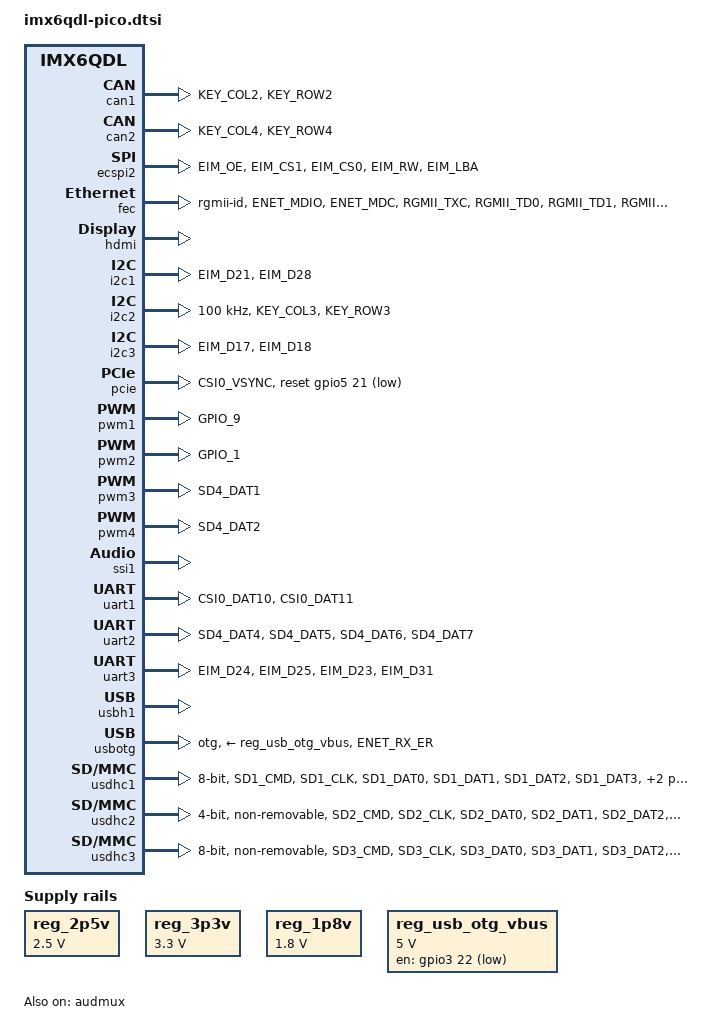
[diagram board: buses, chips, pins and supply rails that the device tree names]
// SPDX-License-Identifier: GPL-2.0
//
// Copyright 2018 Technexion Ltd.
//
// Author: Wig Cheng <wig.cheng@technexion.com>
//	   Richard Hu <richard.hu@technexion.com>
//	   Tapani Utriainen <tapani@technexion.com>

#include <dt-bindings/gpio/gpio.h>

/ {
	aliases {
		mmc0 = &usdhc3;
		usb0 = &usbotg;
	};

	chosen {
		stdout-path = &uart1;
	};

	reg_2p5v: regulator-2p5v {
		compatible = "regulator-fixed";
		regulator-name = "2P5V";
		regulator-min-microvolt = <2500000>;
		regulator-max-microvolt = <2500000>;
		regulator-always-on;
	};

	reg_3p3v: regulator-3p3v {
		compatible = "regulator-fixed";
		regulator-name = "3P3V";
		regulator-min-microvolt = <3300000>;
		regulator-max-microvolt = <3300000>;
		regulator-always-on;
	};

	reg_1p8v: regulator-1p8v {
		compatible = "regulator-fixed";
		regulator-name = "1P8V";
		regulator-min-microvolt = <1800000>;
		regulator-max-microvolt = <1800000>;
		regulator-always-on;
	};

	reg_usb_otg_vbus: regulator-usb-otg-vbus {
		pinctrl-names = "default";
		pinctrl-0 = <&pinctrl_usbotg_vbus>;
		compatible = "regulator-fixed";
		regulator-name = "usb_otg_vbus";
		regulator-min-microvolt = <5000000>;
		regulator-max-microvolt = <5000000>;
		gpio = <&gpio3 22 GPIO_ACTIVE_LOW>;
	};
};

&audmux {
	pinctrl-names = "default";
	pinctrl-0 = <&pinctrl_audmux>;
	status = "okay";
};

&can1 {
	pinctrl-names = "default";
	pinctrl-0 = <&pinctrl_flexcan1>;
	status = "okay";
};

&can2 {
	pinctrl-names = "default";
	pinctrl-0 = <&pinctrl_flexcan2>;
	status = "okay";
};

&clks {
	assigned-clocks = <&clks IMX6QDL_CLK_LDB_DI0_SEL>,
			  <&clks IMX6QDL_CLK_LDB_DI1_SEL>;
	assigned-clock-parents = <&clks IMX6QDL_CLK_PLL3_USB_OTG>,
				 <&clks IMX6QDL_CLK_PLL3_USB_OTG>;
};

&ecspi2 {
	pinctrl-names = "default";
	pinctrl-0 = <&pinctrl_ecspi2>;
	cs-gpios = <&gpio2 27 GPIO_ACTIVE_HIGH>;
	status = "okay";
};

&fec {
	pinctrl-names = "default";
	pinctrl-0 = <&pinctrl_enet>;
	phy-mode = "rgmii-id";
	phy-reset-gpios = <&gpio1 26 GPIO_ACTIVE_LOW>;
	status = "okay";
};

&hdmi {
	ddc-i2c-bus = <&i2c2>;
	status = "okay";
};

&i2c1 {
	pinctrl-names = "default";
	pinctrl-0 = <&pinctrl_i2c1>;
	status = "okay";
};

&i2c2 {
	clock-frequency = <100000>;
	pinctrl-names = "default";
	pinctrl-0 = <&pinctrl_i2c2>;
	status = "okay";
};

&i2c3 {
	pinctrl-names = "default";
	pinctrl-0 = <&pinctrl_i2c3>;
	status = "okay";
};

&pcie {
	pinctrl-names = "default";
	pinctrl-0 = <&pinctrl_pcie_reset>;
	reset-gpio = <&gpio5 21 GPIO_ACTIVE_LOW>;
	status = "okay";
};

&pwm1 {
	pinctrl-names = "default";
	pinctrl-0 = <&pinctrl_pwm1>;
	status = "okay";
};

&pwm2 {
	pinctrl-names = "default";
	pinctrl-0 = <&pinctrl_pwm2>;
	status = "okay";
};

&pwm3 {
	pinctrl-names = "default";
	pinctrl-0 = <&pinctrl_pwm3>;
	status = "okay";
};

&pwm4 {
	pinctrl-names = "default";
	pinctrl-0 = <&pinctrl_pwm4>;
	status = "okay";
};

&ssi1 {
	status = "okay";
};

&uart1 {
	pinctrl-names = "default";
	pinctrl-0 = <&pinctrl_uart1>;
	status = "okay";
};

&uart2 {  /* Bluetooth module */
	pinctrl-names = "default";
	pinctrl-0 = <&pinctrl_uart2>;
	fsl,uart-has-rtscts;
	status = "okay";
};

&uart3 {
	pinctrl-names = "default";
	pinctrl-0 = <&pinctrl_uart3>;
	fsl,uart-has-rtscts;
	status = "okay";
};

&usbh1 {
	status = "okay";
};

&usbotg {
	vbus-supply = <&reg_usb_otg_vbus>;
	pinctrl-names = "default";
	pinctrl-0 = <&pinctrl_usbotg>;
	disable-over-current;
	dr_mode = "otg";
	status = "okay";
};

&usdhc1 {
	pinctrl-names = "default";
	pinctrl-0 = <&pinctrl_usdhc1>;
	bus-width = <8>;
	cd-gpios = <&gpio3 9 GPIO_ACTIVE_LOW>;
	status = "okay";
};

&usdhc2 {  /* Wifi/BT  */
	pinctrl-names = "default";
	pinctrl-0 = <&pinctrl_usdhc2>;
	bus-width = <4>;
	no-1-8-v;
	keep-power-in-suspend;
	non-removable;
	status = "okay";
};

&usdhc3 {
	pinctrl-names = "default";
	pinctrl-0 = <&pinctrl_usdhc3>;
	bus-width = <8>;
	no-1-8-v;
	non-removable;
	status = "okay";
};

&iomuxc {
	pinctrl-names = "default";
	pinctrl-0 = <&pinctrl_hog>;

	pinctrl_hog: hoggrp {
		fsl,pins = <
			MX6QDL_PAD_CSI0_MCLK__GPIO5_IO19	0x4001b0b5 /* PICO_P24 */
			MX6QDL_PAD_CSI0_PIXCLK__GPIO5_IO18	0x4001b0b5 /* PICO_P25 */
			MX6QDL_PAD_CSI0_VSYNC__GPIO5_IO21	0x4001b0b5 /* PICO_P26 */
			MX6QDL_PAD_CSI0_DATA_EN__GPIO5_IO20	0x4001b0b5 /* PICO_P28 */
			MX6QDL_PAD_CSI0_DAT8__GPIO5_IO26	0x4001b0b5 /* PICO_P30 */
			MX6QDL_PAD_CSI0_DAT9__GPIO5_IO27	0x4001b0b5 /* PICO_P32 */
			MX6QDL_PAD_CSI0_DAT14__GPIO6_IO00	0x4001b0b5 /* PICO_P34 */
			MX6QDL_PAD_CSI0_DAT12__GPIO5_IO30	0x4001b0b5 /* PICO_P42 */
			MX6QDL_PAD_CSI0_DAT13__GPIO5_IO31	0x4001b0b5 /* PICO_P44 */
			MX6QDL_PAD_CSI0_DAT15__GPIO6_IO01	0x4001b0b5 /* PICO_P48 */
		>;
	};

	pinctrl_audmux: audmuxgrp {
		fsl,pins = <
			MX6QDL_PAD_CSI0_DAT7__AUD3_RXD		0x130b0
			MX6QDL_PAD_CSI0_DAT4__AUD3_TXC		0x130b0
			MX6QDL_PAD_CSI0_DAT5__AUD3_TXD		0x110b0
			MX6QDL_PAD_CSI0_DAT6__AUD3_TXFS		0x130b0
		>;
	};

	pinctrl_ecspi1: ecspi1grp {
		fsl,pins = <
			MX6QDL_PAD_EIM_D17__ECSPI1_MISO		0x100b1
			MX6QDL_PAD_EIM_D18__ECSPI1_MOSI		0x100b1
			MX6QDL_PAD_EIM_D16__ECSPI1_SCLK		0x100b1
			MX6QDL_PAD_EIM_EB2__GPIO2_IO30		0x000f0b0
		>;
	};

	pinctrl_ecspi2: ecspi2grp {
		fsl,pins = <
			MX6QDL_PAD_EIM_OE__ECSPI2_MISO		0x1b0b1
			MX6QDL_PAD_EIM_CS1__ECSPI2_MOSI		0x1b0b1
			MX6QDL_PAD_EIM_CS0__ECSPI2_SCLK		0x1b0b1
			MX6QDL_PAD_EIM_RW__GPIO2_IO26		0x000f0b0
			MX6QDL_PAD_EIM_LBA__GPIO2_IO27		0x000f0b0
		>;
	};

	pinctrl_enet: enetgrp {
		fsl,pins = <
			MX6QDL_PAD_ENET_MDIO__ENET_MDIO		0x1b0b0
			MX6QDL_PAD_ENET_MDC__ENET_MDC		0x1b0b0
			MX6QDL_PAD_RGMII_TXC__RGMII_TXC		0x1b0b0
			MX6QDL_PAD_RGMII_TD0__RGMII_TD0		0x1b0b0
			MX6QDL_PAD_RGMII_TD1__RGMII_TD1		0x1b0b0
			MX6QDL_PAD_RGMII_TD2__RGMII_TD2		0x1b0b0
			MX6QDL_PAD_RGMII_TD3__RGMII_TD3		0x1b0b0
			MX6QDL_PAD_RGMII_TX_CTL__RGMII_TX_CTL	0x1b0b0
			MX6QDL_PAD_ENET_REF_CLK__ENET_TX_CLK	0x1b0b0
			MX6QDL_PAD_RGMII_RXC__RGMII_RXC		0x1b0b0
			MX6QDL_PAD_RGMII_RD0__RGMII_RD0		0x1b0b0
			MX6QDL_PAD_RGMII_RD1__RGMII_RD1		0x1b0b0
			MX6QDL_PAD_RGMII_RD2__RGMII_RD2		0x1b0b0
			MX6QDL_PAD_RGMII_RD3__RGMII_RD3		0x1b0b0
			MX6QDL_PAD_RGMII_RX_CTL__RGMII_RX_CTL	0x1b0b0
			MX6QDL_PAD_ENET_TX_EN__ENET_TX_EN	0x1b0b0
			MX6QDL_PAD_ENET_RXD1__GPIO1_IO26	0x1f0b1
		>;
	};

	pinctrl_flexcan1: flexcan1grp {
		fsl,pins = <
			MX6QDL_PAD_KEY_COL2__FLEXCAN1_TX	0x1b0b0
			MX6QDL_PAD_KEY_ROW2__FLEXCAN1_RX	0x1b0b0
		>;
	};

	pinctrl_flexcan2: flexcan2grp {
		fsl,pins = <
			MX6QDL_PAD_KEY_COL4__FLEXCAN2_TX	0x1b0b0
			MX6QDL_PAD_KEY_ROW4__FLEXCAN2_RX	0x1b0b0
		>;
	};

	pinctrl_i2c1: i2c1grp {
		fsl,pins = <
			MX6QDL_PAD_EIM_D21__I2C1_SCL		0x4001b8b1
			MX6QDL_PAD_EIM_D28__I2C1_SDA		0x4001b8b1
		>;
	};

	pinctrl_i2c2: i2c2grp {
		fsl,pins = <
			MX6QDL_PAD_KEY_COL3__I2C2_SCL		0x4001b8b1
			MX6QDL_PAD_KEY_ROW3__I2C2_SDA		0x4001b8b1
		>;
	};

	pinctrl_i2c3: i2c3grp {
		fsl,pins = <
			MX6QDL_PAD_EIM_D17__I2C3_SCL		0x4001b8b1
			MX6QDL_PAD_EIM_D18__I2C3_SDA		0x4001b8b1
		>;
	};

	pinctrl_pcie_reset: pciegrp {
		fsl,pins = <
			MX6QDL_PAD_CSI0_VSYNC__GPIO5_IO21	0x130b0
		>;
	};

	pinctrl_pwm1: pwm1grp {
		fsl,pins = <
			MX6QDL_PAD_GPIO_9__PWM1_OUT		0x1b0b1
		>;
	};

	pinctrl_pwm2: pwm2grp {
		fsl,pins = <
			MX6QDL_PAD_GPIO_1__PWM2_OUT		0x1b0b1
		>;
	};

	pinctrl_pwm3: pwm3grp {
		fsl,pins = <
			MX6QDL_PAD_SD4_DAT1__PWM3_OUT		0x1b0b1
		>;
	};

	pinctrl_pwm4: pwm4grp {
		fsl,pins = <
			MX6QDL_PAD_SD4_DAT2__PWM4_OUT		0x1b0b1
		>;
	};

	pinctrl_uart1: uart1grp {
		fsl,pins = <
			MX6QDL_PAD_CSI0_DAT10__UART1_TX_DATA	0x1b0b1
			MX6QDL_PAD_CSI0_DAT11__UART1_RX_DATA	0x1b0b1
		>;
	};

	pinctrl_uart2: uart2grp {
		fsl,pins = <
			MX6QDL_PAD_SD4_DAT4__UART2_RX_DATA	0x1b0b1
			MX6QDL_PAD_SD4_DAT5__UART2_RTS_B	0x1b0b1
			MX6QDL_PAD_SD4_DAT6__UART2_CTS_B	0x1b0b1
			MX6QDL_PAD_SD4_DAT7__UART2_TX_DATA	0x1b0b1
		>;
	};

	pinctrl_uart3: uart3grp {
		fsl,pins = <
			MX6QDL_PAD_EIM_D24__UART3_TX_DATA	0x1b0b1
			MX6QDL_PAD_EIM_D25__UART3_RX_DATA	0x1b0b1
			MX6QDL_PAD_EIM_D23__UART3_CTS_B		0x1b0b1
			MX6QDL_PAD_EIM_D31__UART3_RTS_B		0x1b0b1
		>;
	};

	pinctrl_usbotg: usbotggrp {
		fsl,pins = <
			MX6QDL_PAD_ENET_RX_ER__USB_OTG_ID	0x17059
		>;
	};

	pinctrl_usbotg_vbus: usbotgvbusgrp {
		fsl,pins = <
			MX6QDL_PAD_EIM_D22__GPIO3_IO22		0x1b0b0
		>;
	};

	pinctrl_usdhc1: usdhc1grp {
		fsl,pins = <
			MX6QDL_PAD_SD1_CMD__SD1_CMD		0x17071
			MX6QDL_PAD_SD1_CLK__SD1_CLK		0x17071
			MX6QDL_PAD_SD1_DAT0__SD1_DATA0		0x17071
			MX6QDL_PAD_SD1_DAT1__SD1_DATA1		0x17071
			MX6QDL_PAD_SD1_DAT2__SD1_DATA2		0x17071
			MX6QDL_PAD_SD1_DAT3__SD1_DATA3		0x17071
			MX6QDL_PAD_GPIO_2__GPIO1_IO02		0x1b0b0
		>;
	};

	pinctrl_usdhc2: usdhc2grp {
		fsl,pins = <
			MX6QDL_PAD_SD2_CMD__SD2_CMD		0x17059
			MX6QDL_PAD_SD2_CLK__SD2_CLK		0x10059
			MX6QDL_PAD_SD2_DAT0__SD2_DATA0		0x17059
			MX6QDL_PAD_SD2_DAT1__SD2_DATA1		0x17059
			MX6QDL_PAD_SD2_DAT2__SD2_DATA2		0x17059
			MX6QDL_PAD_SD2_DAT3__SD2_DATA3		0x17059
		>;
	};

	pinctrl_usdhc3: usdhc3grp {
		fsl,pins = <
			MX6QDL_PAD_SD3_CMD__SD3_CMD		0x17059
			MX6QDL_PAD_SD3_CLK__SD3_CLK		0x10059
			MX6QDL_PAD_SD3_DAT0__SD3_DATA0		0x17059
			MX6QDL_PAD_SD3_DAT1__SD3_DATA1		0x17059
			MX6QDL_PAD_SD3_DAT2__SD3_DATA2		0x17059
			MX6QDL_PAD_SD3_DAT3__SD3_DATA3		0x17059
			MX6QDL_PAD_EIM_DA9__GPIO3_IO09		0xb0b1
			MX6QDL_PAD_SD3_DAT4__SD3_DATA4		0x17059
			MX6QDL_PAD_SD3_DAT5__SD3_DATA5		0x17059
			MX6QDL_PAD_SD3_DAT6__SD3_DATA6		0x17059
			MX6QDL_PAD_SD3_DAT7__SD3_DATA7		0x17059
		>;
	};
};
